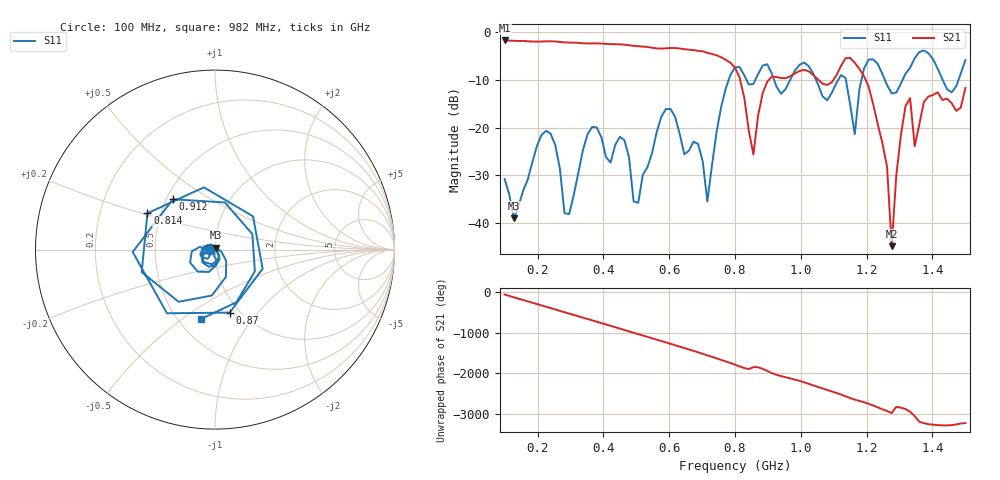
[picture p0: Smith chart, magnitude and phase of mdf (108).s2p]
! NanoVNA-App
! Date: 2025-09-25 15:39:16
! Start: 100MHz Stop: 1,5GHz Points: 101
! S-Parameter data: F S11 S21 S12 S22
# Hz S RI R 50
!  Frequency  S11_Real  S11_Imag  S21_Real  S21_Imag  S12_Real  S12_Imag  S22_Real  S22_Imag
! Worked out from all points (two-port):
!   101 points, 100 MHz to 1.5 GHz, reference 50 ohm
!   highest |S21| = -1.80 dB at 100 MHz (marker M1); lowest = -44.8 dB at 1.276 GHz (marker M2)
!   |S21| within 3 dB of the highest: start of sweep to 739.1 MHz
!   lowest |S11| = -39.0 dB at 128 MHz (marker M3), VSWR 1.02, Z = 50.3 + j1.08 ohm
!   |S11| at or under -10 dB: start of sweep to 781.1 MHz; 1.046 GHz to 1.114 GHz (68.02 MHz wide, 6.3 % of centre); 1.255 GHz to 1.31 GHz (54.43 MHz wide, 4.24 % of centre) (the widest 3 of 7)
!   S12 and S22 are empty: the file has one direction only
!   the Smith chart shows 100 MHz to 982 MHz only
!   S11 on the Smith chart (normalised r, x): 100 MHz: 0.94, -0.01; 814 MHz: 0.42, +0.21; 870 MHz: 0.90, -0.73; 912 MHz: 0.54, +0.35; 982 MHz: 0.65, -0.59
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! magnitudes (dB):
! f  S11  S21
! 100 MHz  -30.8  -1.8
! 128 MHz  -39.0  -1.9
! 212 MHz  -21.6  -2.0
! 282 MHz  -37.9  -2.2
! 338 MHz  -24.7  -2.4
! 464 MHz  -22.6  -2.7
! 506 MHz  -35.7  -3.0
! 576 MHz  -17.8  -3.5
! 716 MHz  -35.4  -4.4
! 800 MHz  -7.4  -7.5
! 814 MHz  -7.4  -9.6
! 856 MHz  -10.9  -25.6
! 870 MHz  -8.9  -17.6
! 912 MHz  -8.7  -9.3
! 982 MHz  -8.1  -8.7
! 1.038 GHz  -8.8  -9.0
! 1.164 GHz  -21.4  -6.5
! 1.192 GHz  -7.7  -9.3
! 1.262 GHz  -11.1  -28.2
! 1.276 GHz  -12.9  -44.8
! 1.318 GHz  -8.8  -15.5
! 1.5 GHz  -5.9  -11.7
